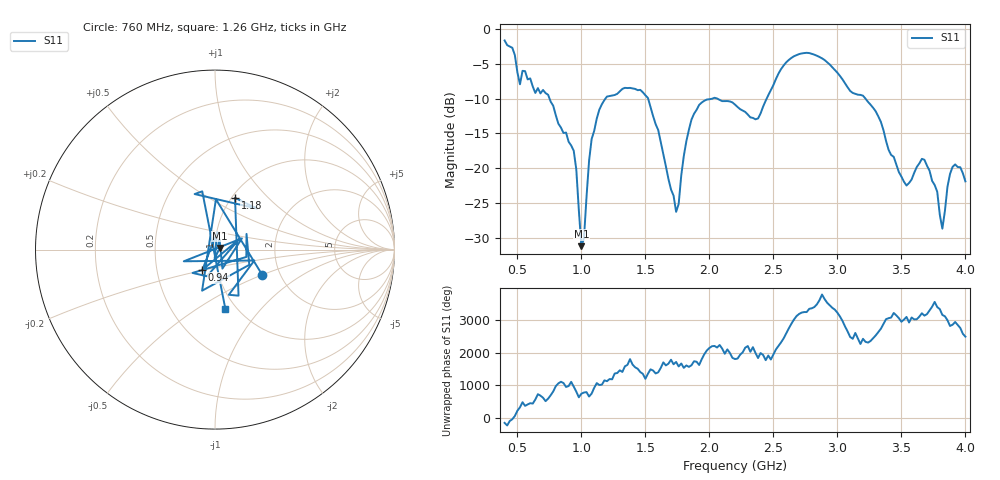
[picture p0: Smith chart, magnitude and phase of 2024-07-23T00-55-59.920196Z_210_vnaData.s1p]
!Created with skrf (http://scikit-rf.org).
# Hz S RI R 50.0
!freq ReS11 ImS11
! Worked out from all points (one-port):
!   181 points, 400 MHz to 4 GHz, reference 50 ohm
!   lowest |S11| = -31.1 dB at 1 GHz (marker M1), VSWR 1.06, Z = 52.7 + j0.989 ohm
!   |S11| at or under -10 dB: 751 MHz to 1.188 GHz (437.1 MHz wide, 45.1 % of centre); 1.521 GHz to 2.024 GHz (502.8 MHz wide, 28.4 % of centre); 3.219 GHz to end of sweep (the widest 3 of 4)
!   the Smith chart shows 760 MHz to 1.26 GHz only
!   S11 on the Smith chart (normalised r, x): 760 MHz: 1.62, -0.51; 940 MHz: 0.85, -0.20; 1.18 GHz: 1.04, +0.66; 1.26 GHz: 0.89, -0.66
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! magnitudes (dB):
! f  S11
! 400 MHz  -1.7
! 520 MHz  -8.0
! 560 MHz  -6.1
! 760 MHz  -10.4
! 860 MHz  -14.9
! 940 MHz  -17.5
! 1 GHz  -31.1
! 1.02 GHz  -30.0
! 1.08 GHz  -15.8
! 1.18 GHz  -10.2
! 1.26 GHz  -9.5
! 1.3 GHz  -9.0
! 1.52 GHz  -9.9
! 1.74 GHz  -26.2
! 1.76 GHz  -25.1
! 1.8 GHz  -18.2
! 1.88 GHz  -12.2
! 2.2 GHz  -10.9
! 2.38 GHz  -12.8
! 2.66 GHz  -3.9
! 3.1 GHz  -8.9
! 3.3 GHz  -11.8
! 3.56 GHz  -22.1
! 3.68 GHz  -18.8
! 3.78 GHz  -23.4
! 3.82 GHz  -28.6
! 3.9 GHz  -19.8
! 4 GHz  -21.9
